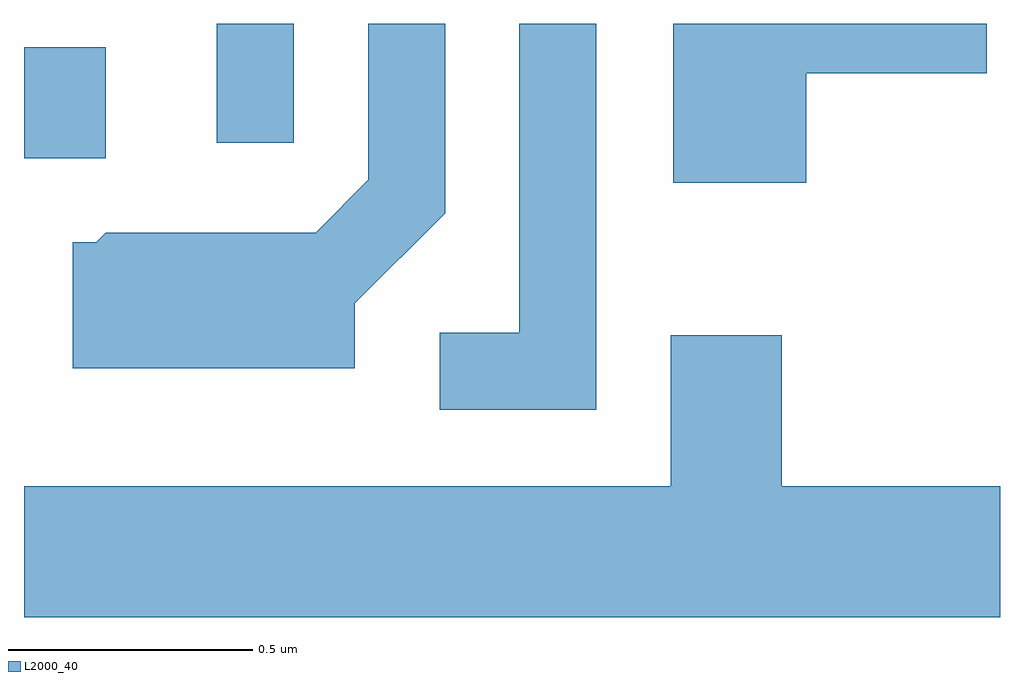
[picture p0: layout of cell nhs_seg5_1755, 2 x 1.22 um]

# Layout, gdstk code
import gdstk
lib = gdstk.Library(unit=1e-6, precision=1e-09)
def R(c, l, rs):  # rectangles x0, y0, x1, y1
    for r in rs: c.add(gdstk.rectangle(r[:2], r[2:], *l))
def P(c, l, *ps):  # polygons
    for p in ps: c.add(gdstk.Polygon(p, *l))
L2000_40 = (2000, 40)

nhs_seg5_1755 = lib.new_cell('nhs_seg5_1755')
R(nhs_seg5_1755, L2000_40, [(197.611,1508.796,197.779,1509.024), (198.006,1508.828,198.164,1509.072)])
P(nhs_seg5_1755, L2000_40, [(199.214,1508.971),(199.584,1508.971),(199.584,1509.072),(198.941,1509.072),(198.941,1508.746),(199.214,1508.746)],
  [(198.784,1509.072),(198.626,1509.072),(198.626,1508.439),(198.463,1508.439),(198.463,1508.281),(198.784,1508.281)],
  [(198.289,1508.499),(198.474,1508.684),(198.474,1509.072),(198.316,1509.072),(198.316,1508.752),(198.209,1508.644),(197.779,1508.644),(197.759,1508.624),(197.711,1508.624),(197.711,1508.366),(198.289,1508.366)],
  [(199.611,1508.124),(199.164,1508.124),(199.164,1508.434),(198.936,1508.434),(198.936,1508.124),(197.611,1508.124),(197.611,1507.856),(199.611,1507.856)])

lib.write_gds('nhs_seg5_1755.gds')
